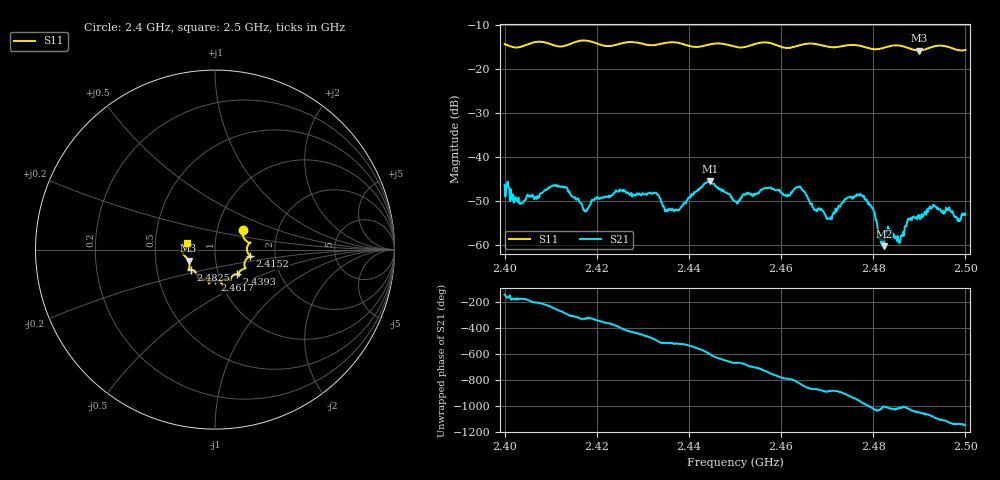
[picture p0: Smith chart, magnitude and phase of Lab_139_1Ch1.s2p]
# Hz S RI R 50
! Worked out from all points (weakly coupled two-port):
!   601 points, 2.4 GHz to 2.5 GHz, reference 50 ohm
!   highest |S21| = -45.66 dB at 2.4445 GHz (marker M1); lowest = -60.4 dB at 2.4823 GHz (marker M2)
!   lowest |S11| = -15.9 dB at 2.49 GHz (marker M3), VSWR 1.38, Z = 36.9 - j4.73 ohm
!   |S11| at or under -10 dB: start of sweep to end of sweep
!   S12 and S22 are empty: the file has one direction only
!   S11 on the Smith chart (normalised r, x): 2.4 GHz: 1.33, +0.30; 2.4152 GHz: 1.48, -0.11; 2.4393 GHz: 1.23, -0.35; 2.4617 GHz: 0.95, -0.33; 2.4825 GHz: 0.75, -0.17; 2.5 GHz: 0.72, +0.05
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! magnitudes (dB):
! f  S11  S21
! 2.4 GHz  -14.4  -46.4
! 2.4037 GHz  -15.0  -50.7
! 2.4108 GHz  -14.8  -46.6
! 2.4152 GHz  -14.0  -49.3
! 2.4167 GHz  -13.6  -50.7
! 2.4333 GHz  -14.5  -48.7
! 2.4352 GHz  -14.1  -52.1
! 2.4393 GHz  -14.6  -50.7
! 2.4445 GHz  -14.5  -45.7
! 2.45 GHz  -15.0  -50.2
! 2.4617 GHz  -15.3  -49.0
! 2.464 GHz  -14.7  -46.9
! 2.4667 GHz  -14.3  -50.7
! 2.4705 GHz  -15.1  -54.1
! 2.4775 GHz  -14.9  -48.8
! 2.4823 GHz  -15.3  -60.4
! 2.4825 GHz  -15.2  -58.0
! 2.4833 GHz  -15.0  -56.6
! 2.4857 GHz  -14.8  -59.6
! 2.49 GHz  -15.9  -53.8
! 2.4932 GHz  -15.0  -51.2
! 2.5 GHz  -15.8  -53.3
